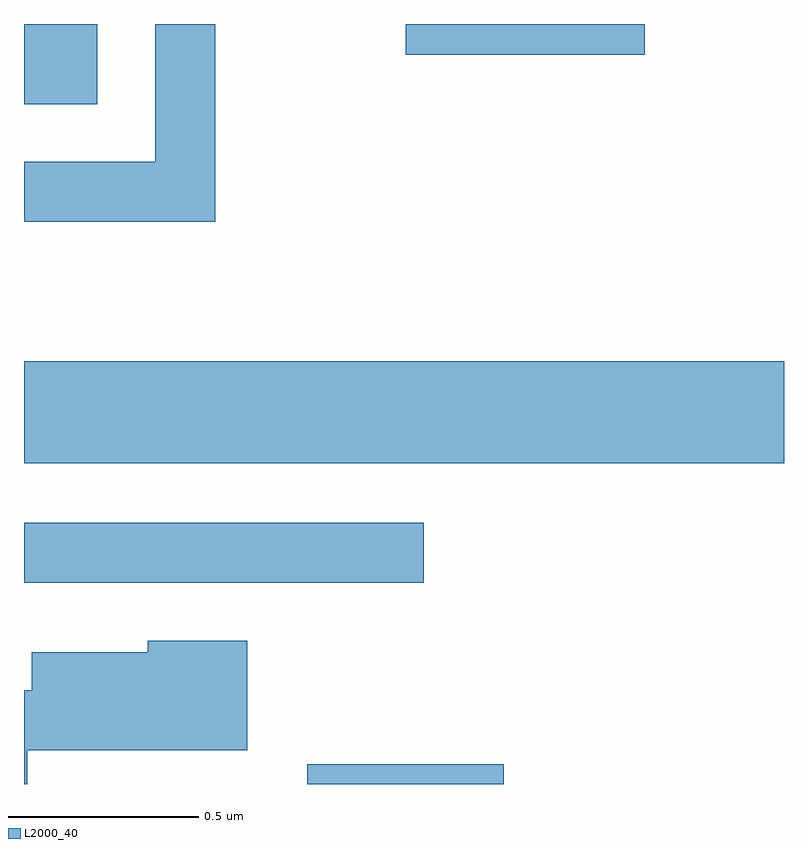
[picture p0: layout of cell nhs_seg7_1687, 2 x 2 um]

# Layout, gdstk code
import gdstk
lib = gdstk.Library(unit=1e-6, precision=1e-09)
def R(c, l, rs):  # rectangles x0, y0, x1, y1
    for r in rs: c.add(gdstk.rectangle(r[:2], r[2:], *l))
def P(c, l, *ps):  # polygons
    for p in ps: c.add(gdstk.Polygon(p, *l))
L2000_40 = (2000, 40)

nhs_seg7_1687 = lib.new_cell('nhs_seg7_1687')
R(nhs_seg7_1687, L2000_40, [(198.356,1711.252,198.874,1711.304), (197.611,1711.781,198.663,1711.939), (197.611,1712.096,199.611,1712.364), (197.611,1713.041,197.804,1713.252), (198.616,1713.171,199.244,1713.252)])
P(nhs_seg7_1687, L2000_40, [(198.114,1713.252),(197.956,1713.252),(197.956,1712.889),(197.611,1712.889),(197.611,1712.731),(198.114,1712.731)],
  [(197.619,1711.341),(198.199,1711.341),(198.199,1711.629),(197.936,1711.629),(197.936,1711.599),(197.631,1711.599),(197.631,1711.499),(197.611,1711.499),(197.611,1711.252),(197.619,1711.252)])

lib.write_gds('nhs_seg7_1687.gds')
